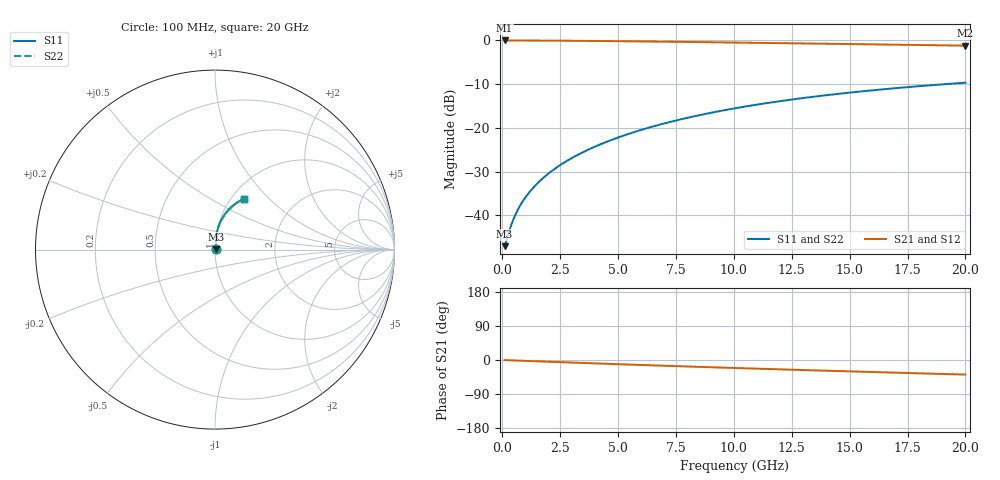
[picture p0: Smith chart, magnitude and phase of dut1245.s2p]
! Touchstone file exported from HFSS 2024.1.0
!  File:  C:/UserFiles/LocalFiles/RDL_TSV_Batchsim/temp_RDL_bottom_1245_1780245132.aedt
!  Generated:  12:35:10 AM Jun  1, 2026
!  Design:  RDL_bottom
!  Project:  temp_RDL_bottom_1245_1780245132
!  Setup:  Setup1
!  Solution:  Sweep
! Variables:
!  dtsv = 10.80580581um
!  hbump = 3um
!  htsv = 91.41um
!  ldown = 547.9um
!  lrdl = 100um
!  p = 40
!  p1 = 46.73um
!  rhole = 1um
!  t = 450um
!  tdown = 2.12um
!  trdl = 3.915915916um
!  wdown = 24.36um
!  wrdl = 20um
# GHz S MA R 50.000000
! Terminal data exported
! Port[1] = RDL1_T1
! Port[2] = RDL1_T2
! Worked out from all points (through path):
!   200 points, 100 MHz to 20 GHz, reference 50 ohm
!   highest |S21| = -0.04 dB at 100 MHz (marker M1); lowest = -1.2 dB at 20 GHz (marker M2)
!   group delay of S21, straight-line fit = 5.3 ps
!   lowest |S11| = -47.0 dB at 100 MHz (marker M3), VSWR 1.01, Z = 50.4 + j0.171 ohm
!   |S11| at or under -10 dB: start of sweep to 19.17 GHz
!   |S22| runs from -47.0 to -9.7 dB; largest |S21 - S12| = 5.1e-15
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0.1  0.00445 22.5  0.9959 -0.2  0.9959 -0.2  0.00445 22.5
! Gamma 0 0 0 0
! Port Impedance 50 0 50 0
0.3  0.006627 48.6  0.9955 -0.7  0.9955 -0.7  0.006627 48.6
0.4  0.007952 55.1  0.9953 -1.0  0.9953 -1.0  0.007952 55.1
0.6  0.01066 62.8  0.9948 -1.4  0.9948 -1.4  0.01066 62.8
0.7  0.01201 65.4  0.9946 -1.6  0.9946 -1.6  0.01201 65.4
0.9  0.01471 69.4  0.9942 -2.1  0.9942 -2.1  0.01471 69.4
1.2  0.01881 73.5  0.9935 -2.8  0.9935 -2.8  0.01881 73.5
1.4  0.02159 75.4  0.993 -3.2  0.993 -3.2  0.02159 75.4
1.7  0.02583 77.7  0.9922 -3.9  0.9922 -3.9  0.02583 77.7
2.2  0.03309 80.3  0.9907 -5.0  0.9907 -5.0  0.03309 80.3
2.8  0.04208 82.2  0.9885 -6.3  0.9885 -6.3  0.04208 82.1
3.5  0.05296 83.4  0.9854 -7.9  0.9854 -7.9  0.05296 83.4
4.2  0.06424 83.9  0.9819 -9.4  0.9819 -9.4  0.06423 83.9
5  0.07755 84.0  0.9774 -11.1  0.9774 -11.1  0.07755 84.0
5.9  0.09301 83.6  0.9719 -13.0  0.9719 -13.0  0.093 83.6
6.8  0.1089 82.8  0.966 -14.8  0.966 -14.8  0.1088 82.8
8.4  0.1376 80.7  0.9548 -18.0  0.9548 -18.0  0.1375 80.7
10.1  0.1682 78.0  0.9425 -21.2  0.9425 -21.2  0.1682 78.0
11.7  0.1967 75.2  0.9307 -24.2  0.9307 -24.2  0.1966 75.2
13.4  0.226 72.1  0.918 -27.3  0.918 -27.3  0.226 72.0
16.7  0.2796 66.0  0.8933 -33.0  0.8933 -33.0  0.2795 66.0
20  0.3278 60.1  0.8688 -38.4  0.8688 -38.4  0.3278 60.1
